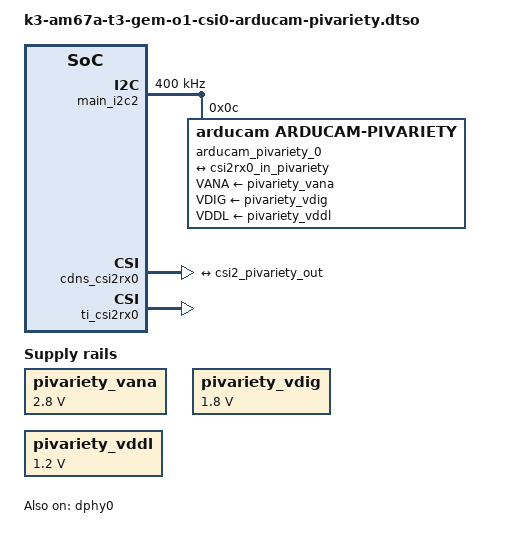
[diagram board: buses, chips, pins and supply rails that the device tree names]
// SPDX-License-Identifier: GPL-2.0
/*
 * Arducam Pivariety camera on T3 Gemstone O1 CSI0
 * Copyright (C) 2025 T3 Foundation - https://www.t3vakfi.org/
 */

/dts-v1/;
/plugin/;

/*
 * Expose the loaded overlay under:
 * /proc/device-tree/chosen/overlays/
 */
&{/chosen} {
	overlays {
		k3-am67a-t3-gem-o1-csi0-arducam-pivariety.kernel = __TIMESTAMP__;
	};
};

/*
 * The Pivariety driver requires a 24 MHz xclk.
 *
 * These regulator nodes satisfy the driver's required VANA, VDIG and
 * VDDL supply bindings. They do not control physical voltage rails
 * because no regulator GPIOs are associated with them.
 */
&{/} {
	clk_csi0_pivariety_fixed: csi0-pivariety-xclk {
		compatible = "fixed-clock";
		#clock-cells = <0>;
		clock-frequency = <24000000>;
	};

	pivariety_vana: pivariety-vana-regulator {
		compatible = "regulator-fixed";
		regulator-name = "pivariety-vana";
		regulator-min-microvolt = <2800000>;
		regulator-max-microvolt = <2800000>;
		regulator-always-on;
		regulator-boot-on;
	};

	pivariety_vdig: pivariety-vdig-regulator {
		compatible = "regulator-fixed";
		regulator-name = "pivariety-vdig";
		regulator-min-microvolt = <1800000>;
		regulator-max-microvolt = <1800000>;
		regulator-always-on;
		regulator-boot-on;
	};

	pivariety_vddl: pivariety-vddl-regulator {
		compatible = "regulator-fixed";
		regulator-name = "pivariety-vddl";
		regulator-min-microvolt = <1200000>;
		regulator-max-microvolt = <1200000>;
		regulator-always-on;
		regulator-boot-on;
	};
};

/*
 * CSI0 camera control bus.
 * T3 Gemstone O1 IMX219 reference uses main_i2c2 for CSI0.
 */
&main_i2c2 {
	status = "okay";
	pinctrl-names = "default";
	pinctrl-0 = <&main_i2c2_pins_default>;
	clock-frequency = <400000>;

	#address-cells = <1>;
	#size-cells = <0>;

	arducam_pivariety_0: camera@c {
		compatible = "arducam,arducam-pivariety";
		reg = <0x0c>;
		status = "okay";

		clocks = <&clk_csi0_pivariety_fixed>;
		clock-names = "xclk";

		VANA-supply = <&pivariety_vana>;
		VDIG-supply = <&pivariety_vdig>;
		VDDL-supply = <&pivariety_vddl>;

		rotation = <0>;
		orientation = <2>;

		port {
			csi2_pivariety_out: endpoint {
				remote-endpoint = <&csi2rx0_in_pivariety>;

				link-frequencies = /bits/ 64 <662000000>;

				clock-lanes = <0>;
				data-lanes = <1 2 3 4>;
				clock-noncontinuous;
			};
		};
	};
};

/* T3 Gemstone CSI0 Cadence CSI-2 receiver input. */
&cdns_csi2rx0 {
	ports {
		#address-cells = <1>;
		#size-cells = <0>;

		port@0 {
			reg = <0>;
			status = "okay";

			csi2rx0_in_pivariety: endpoint {
				remote-endpoint =
					<&csi2_pivariety_out>;

				bus-type = <4>;
				clock-lanes = <0>;
				data-lanes = <1 2 3 4>;
				clock-noncontinuous;
			};
		};
	};
};

&ti_csi2rx0 {
	status = "okay";
};

&dphy0 {
	status = "okay";
};
